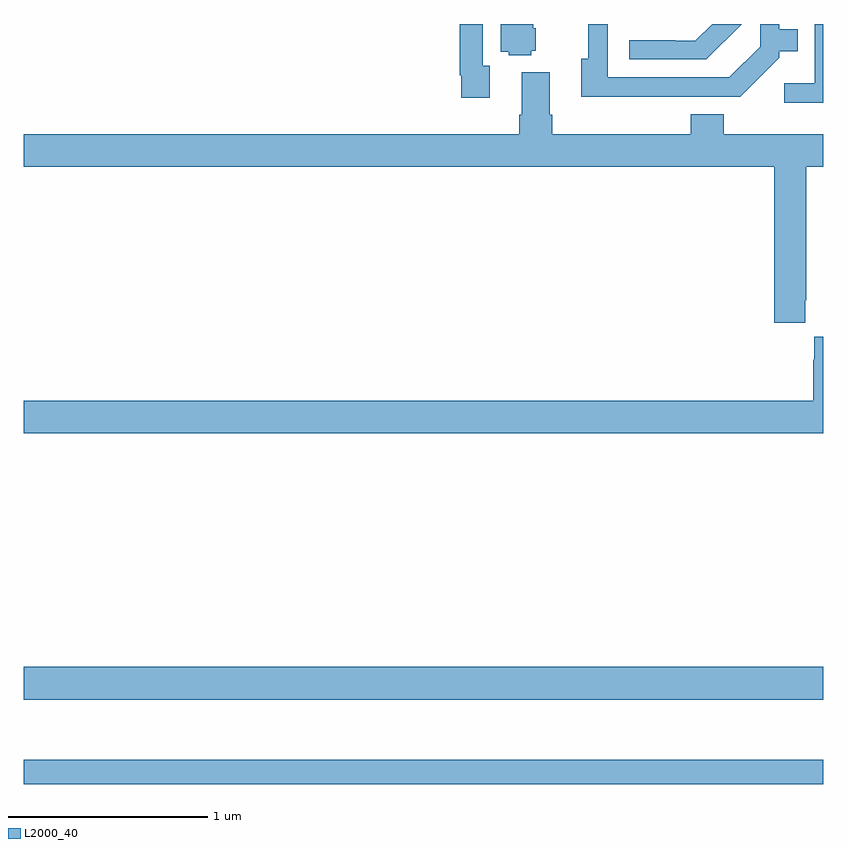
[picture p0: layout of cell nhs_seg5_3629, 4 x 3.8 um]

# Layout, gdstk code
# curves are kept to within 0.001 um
import gdstk
lib = gdstk.Library(unit=1e-6, precision=1e-09)
def R(c, l, rs):  # rectangles x0, y0, x1, y1
    for r in rs: c.add(gdstk.rectangle(r[:2], r[2:], *l))
def P(c, l, *ps):  # polygons
    for p in ps: c.add(gdstk.Polygon(p, *l))
L2000_40 = (2000, 40)

nhs_seg5_3629 = lib.new_cell('nhs_seg5_3629')
R(nhs_seg5_3629, L2000_40, [(325,862.998,329,863.119), (325,863.42,329,863.584)])
P(nhs_seg5_3629, L2000_40, [(328.253,866.436),(328.584,866.436),(328.779,866.631),(328.779,866.663),(328.871,866.663),(328.871,866.773),(328.78,866.773),(328.78,866.799),(328.683,866.799),(328.683,866.685),(328.53,866.532),(327.921,866.532),(327.921,866.799),(327.825,866.799),(327.825,866.626),(327.788,866.626),(327.788,866.435)],
  [(327.54,866.664),(327.562,866.664),(327.562,866.778),(327.55,866.778),(327.55,866.799),(327.386,866.799),(327.386,866.66),(327.426,866.66),(327.426,866.642),(327.54,866.642)],
  [(329,866.799),(328.956,866.799),(328.956,866.503),(328.803,866.503),(328.803,866.405),(329,866.405)],
  [(327.331,866.591),(327.297,866.591),(327.297,866.799),(327.181,866.799),(327.181,866.542),(327.189,866.542),(327.189,866.43),(327.331,866.43)],
  [(328.591,866.799),(328.443,866.799),(328.359,866.715),(328.259,866.715),(328.259,866.718),(328.029,866.718),(328.029,866.622),(328.414,866.622)],
  [(328.754,865.305),(328.909,865.305),(328.909,865.417),(328.914,865.417),(328.914,866.084),(329,866.084),(329,866.248),(328.502,866.248),(328.502,866.347),(328.337,866.347),(328.337,866.248),(327.644,866.248),(327.644,866.344),(327.631,866.344),(327.631,866.557),(327.491,866.557),(327.491,866.344),(327.479,866.344),(327.479,866.248),(325,866.248),(325,866.084),(328.754,866.084)],
  [(329,865.234),(328.955,865.234),(328.955,865.121),(328.949,865.121),(328.949,864.916),(325,864.916),(325,864.752),(329,864.752)])

lib.write_gds('nhs_seg5_3629.gds')
